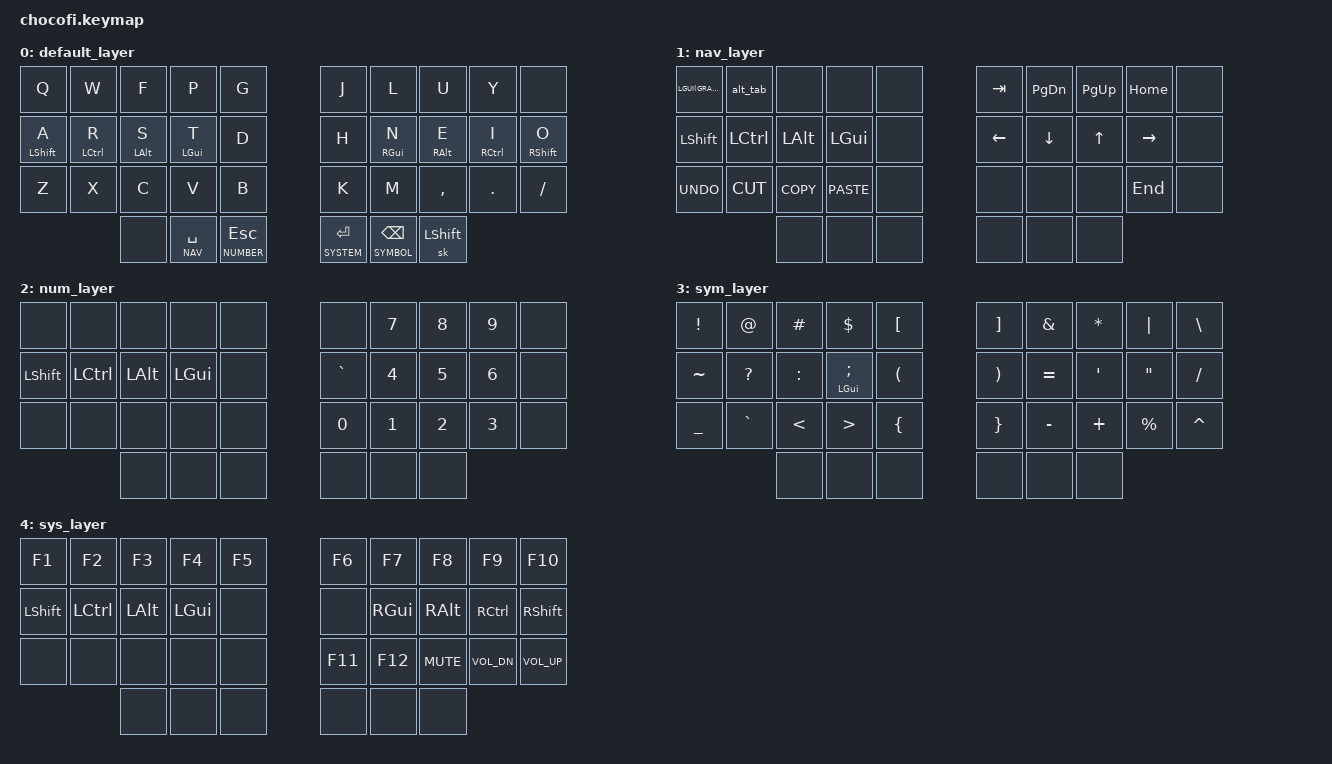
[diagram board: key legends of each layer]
#include <behaviors.dtsi>
#include <dt-bindings/zmk/keys.h>
#include <dt-bindings/zmk/bt.h>

#define BASE 0
#define NAV 1
#define NUMBER 2
#define SYMBOL 3
#define SYSTEM 4

/ {
    behaviors {
        hm: homerow_mods {
            compatible = "zmk,behavior-hold-tap";
            label = "HOMEROW_MODS";
            #binding-cells = <2>;
            tapping-term-ms = <200>;
            quick_tap_ms = <0>;
            flavor = "tap-preferred";
            bindings = <&kp>, <&kp>;
        };
    };

    macros {
        alt_tab: alt_tab {
            compatible = "zmk,behavior-macro";
            #binding-cells = <0>;
            tap-ms = <40>;
            wait-ms = <100>;
            bindings 
                = <&macro_press>
                , <&kp LGUI>
                , <&macro_tap>
                , <&kp TAB>
                , <&macro_tap>
                , <&sk LGUI>
                , <&macro_release>
                , <&kp LGUI>;
        };
    };

    keymap {
        compatible = "zmk,keymap";
        default_layer {
// -----------------------------------------------------------------------------------------
// |  Q  |  W  |  F  |  P  |  G  |   |  J  |  L   |  U  |  Y  |     |
// |  A  |  R  |  S  |  T  |  D  |   |  H  |  N   |  E  |  I  |  O  |
// |  Z  |  X  |  C  |  V  |  B  |   |  K  |  M   |  ,  |  .  |  /  |
//             | GUI | SPC | ESC |   | ENT | BSPC | SHFT|
            bindings = <
   &kp Q        &kp W        &kp F       &kp P       &kp G      &kp J  &kp L       &kp U       &kp Y        &none
   &hm LSHFT A  &hm LCTRL R  &hm LALT S  &hm LGUI T  &kp D      &kp H  &hm RGUI N  &hm RALT E  &hm RCTRL I  &hm RSHFT O
   &kp Z        &kp X        &kp C       &kp V       &kp B      &kp K  &kp M       &kp COMMA   &kp DOT      &kp FSLH
                      &none  &lt NAV SPACE  &lt NUMBER ESC      &lt SYSTEM RET  &lt SYMBOL BSPC  &sk LSHIFT
            >;
        };

        nav_layer {
            bindings = <
   &kp LGUI(GRAVE)  &alt_tab      &none       &none            &none    &kp TAB   &kp PG_DN &kp PG_UP  &kp HOME  &none
   &kp LSHFT  &kp LCTRL  &kp LALT    &kp LGUI    &none      &kp LEFT  &kp DOWN  &kp UP     &kp RIGHT &none
   &kp K_UNDO &kp K_CUT  &kp K_COPY  &kp K_PASTE &none      &none     &none     &none      &kp END   &none
                                   &none  &none  &none      &none  &none  &none
            >;
        };

        num_layer {
            bindings = <
   &none      &none      &none       &none     &none      &none      &kp N7  &kp N8  &kp N9  &none
   &kp LSHFT  &kp LCTRL  &kp LALT    &kp LGUI  &none      &kp GRAVE  &kp N4  &kp N5  &kp N6  &none
   &none      &none      &none       &none     &none      &kp N0     &kp N1  &kp N2  &kp N3   &none
                                 &none  &none  &none      &none  &none  &none
            >;
        };

        sym_layer {
            bindings = <
   &kp EXCL  &kp AT     &kp HASH   &kp DLLR  &kp LBKT      &kp RBKT  &kp AMPS   &kp ASTRK  &kp PIPE  &kp BSLH
   &kp TILDE &kp QMARK  &kp COLON  &hm LGUI SEMI  &kp LPAR      &kp RPAR  &kp EQUAL  &kp SQT    &kp DQT    &kp FSLH
   &kp UNDER &kp GRAVE  &kp LT     &kp GT    &kp LBRC      &kp RBRC  &kp MINUS  &kp PLUS   &kp PRCNT  &kp CARET
                                  &none  &none  &none      &none  &none  &none
            >;
        };

        sys_layer {
            bindings = <
   &kp F1     &kp F2     &kp F3    &kp F4    &kp F5     &kp F6  &kp F7  &kp F8  &kp F9  &kp F10
   &kp LSHFT  &kp LCTRL  &kp LALT  &kp LGUI  &none      &none    &kp RGUI  &kp RALT  &kp RCTRL     &kp RSHFT
   &none      &none      &none     &none     &none      &kp F11  &kp F12  &kp K_MUTE &kp K_VOL_DN  &kp K_VOL_UP
                               &none  &none  &none      &none  &none  &none
            >;
        };
    };
};
